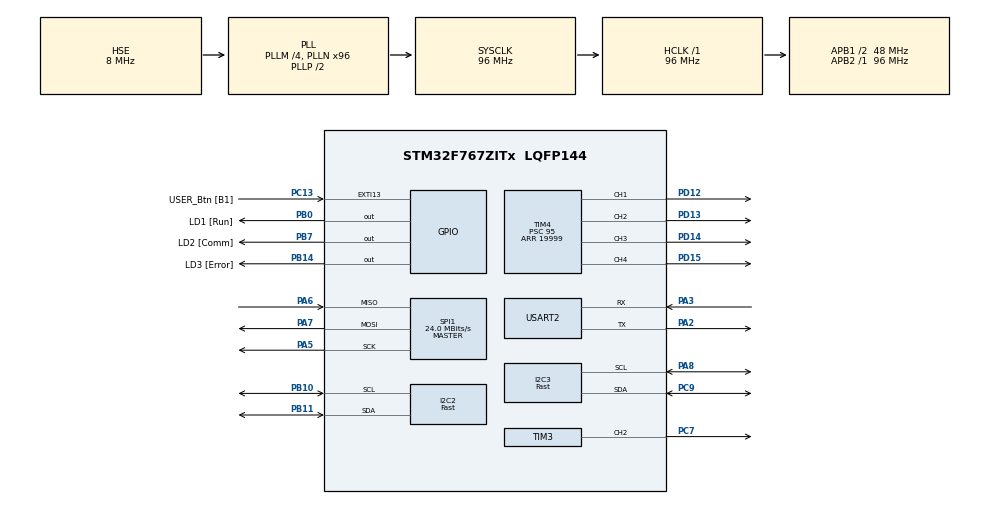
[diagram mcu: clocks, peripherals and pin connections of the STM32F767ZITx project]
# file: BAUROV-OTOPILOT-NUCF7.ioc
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Dma.Request0=USART2_RX
Dma.Request1=USART2_TX
Dma.USART2_RX.0.Direction=DMA_PERIPH_TO_MEMORY
Dma.USART2_RX.0.FIFOMode=DMA_FIFOMODE_DISABLE
Dma.USART2_RX.0.Instance=DMA1_Stream5
Dma.USART2_RX.0.MemDataAlignment=DMA_MDATAALIGN_BYTE
Dma.USART2_RX.0.MemInc=DMA_MINC_ENABLE
Dma.USART2_RX.0.Mode=DMA_NORMAL
Dma.USART2_RX.0.PeriphDataAlignment=DMA_PDATAALIGN_BYTE
Dma.USART2_RX.0.PeriphInc=DMA_PINC_DISABLE
Dma.USART2_RX.0.Priority=DMA_PRIORITY_VERY_HIGH
Dma.USART2_TX.1.Direction=DMA_MEMORY_TO_PERIPH
Dma.USART2_TX.1.FIFOMode=DMA_FIFOMODE_DISABLE
Dma.USART2_TX.1.Instance=DMA1_Stream6
Dma.USART2_TX.1.MemDataAlignment=DMA_MDATAALIGN_BYTE
Dma.USART2_TX.1.MemInc=DMA_MINC_ENABLE
Dma.USART2_TX.1.Mode=DMA_NORMAL
Dma.USART2_TX.1.PeriphDataAlignment=DMA_PDATAALIGN_BYTE
Dma.USART2_TX.1.PeriphInc=DMA_PINC_DISABLE
Dma.USART2_TX.1.Priority=DMA_PRIORITY_VERY_HIGH
FREERTOS.Mutexes01=Microros_DataMutex,Dynamic,NULL,Available;Microros_cmd_vel_Mutex,Dynamic,NULL,Available
FREERTOS.Tasks01=Thread_MicroROS,24,3000,TaskMicroROS,Default,NULL,Dynamic,NULL,NULL;Thread_Sensors,8,256,TaskSensors,Default,NULL,Dynamic,NULL,NULL;Thread_Thruster,8,256,TaskThruster,Default,NULL,Dynamic,NULL,NULL
I2C2.I2C_Speed_Mode=I2C_Fast
I2C2.Timing=0x2010091A
I2C3.I2C_Speed_Mode=I2C_Fast
I2C3.Timing=0x2010091A
Mcu.Family=STM32F7
Mcu.Name=STM32F767ZITx
Mcu.Package=LQFP144
NVIC.DMA1_Stream5_IRQn=true\:5\:0\:false\:false\:true\:true\:false\:true\:true
NVIC.DMA1_Stream6_IRQn=true\:5\:0\:false\:false\:true\:true\:false\:true\:true
NVIC.PriorityGroup=NVIC_PRIORITYGROUP_4
NVIC.SPI1_IRQn=true\:5\:0\:false\:false\:true\:true\:true\:true\:true
NVIC.TIM1_UP_TIM10_IRQn=true\:15\:0\:false\:false\:true\:false\:false\:true\:true
NVIC.TIM3_IRQn=true\:5\:0\:false\:false\:true\:true\:true\:true\:true
NVIC.TIM4_IRQn=true\:5\:0\:false\:false\:true\:true\:true\:true\:true
NVIC.TimeBase=TIM1_UP_TIM10_IRQn
NVIC.TimeBaseIP=TIM1
NVIC.USART2_IRQn=true\:5\:0\:false\:false\:true\:true\:true\:true\:true
PA13.GPIO_Label=TMS
PA13.Mode=Serial_Wire
PA13.Signal=SYS_JTMS-SWDIO
PA14.GPIO_Label=TCK
PA14.Mode=Serial_Wire
PA14.Signal=SYS_JTCK-SWCLK
PA2.Mode=Asynchronous
PA2.Signal=USART2_TX
PA3.Mode=Asynchronous
PA3.Signal=USART2_RX
PA5.Mode=Full_Duplex_Master
PA5.Signal=SPI1_SCK
PA6.Mode=Full_Duplex_Master
PA6.Signal=SPI1_MISO
PA7.Mode=Full_Duplex_Master
PA7.Signal=SPI1_MOSI
PA8.Mode=I2C
PA8.Signal=I2C3_SCL
PB0.GPIO_Label=LD1 [Run]
PB0.Signal=GPIO_Output
PB10.Mode=I2C
PB10.Signal=I2C2_SCL
PB11.Mode=I2C
PB11.Signal=I2C2_SDA
PB14.GPIO_Label=LD3 [Error]
PB14.Signal=GPIO_Output
PB7.GPIO_Label=LD2 [Comm]
PB7.Signal=GPIO_Output
PC13.GPIO_Label=USER_Btn [B1]
PC13.Signal=GPXTI13
PC14/OSC32_IN.Mode=LSE-External-Oscillator
PC14/OSC32_IN.Signal=RCC_OSC32_IN
PC15/OSC32_OUT.Mode=LSE-External-Oscillator
PC15/OSC32_OUT.Signal=RCC_OSC32_OUT
PC7.GPIO_Speed=GPIO_SPEED_FREQ_HIGH
PC7.Signal=S_TIM3_CH2
PC9.Mode=I2C
PC9.Signal=I2C3_SDA
PD12.Signal=S_TIM4_CH1
PD13.Signal=S_TIM4_CH2
PD14.Signal=S_TIM4_CH3
PD15.Signal=S_TIM4_CH4
PH0/OSC_IN.GPIO_Label=MCO [STM32F103CBT6_PA8]
PH0/OSC_IN.Mode=HSE-External-Oscillator
PH0/OSC_IN.Signal=RCC_OSC_IN
PH1/OSC_OUT.Mode=HSE-External-Oscillator
PH1/OSC_OUT.Signal=RCC_OSC_OUT
ProjectManager.HeapSize=0x200
ProjectManager.StackSize=0x400
ProjectManager.TargetToolchain=STM32CubeIDE
RCC.48MHZClocksFreq_Value=24000000
RCC.AHBFreq_Value=96000000
RCC.APB1CLKDivider=RCC_HCLK_DIV2
RCC.APB1Freq_Value=48000000
RCC.APB1TimFreq_Value=96000000
RCC.APB2Freq_Value=96000000
RCC.APB2TimFreq_Value=96000000
RCC.CortexFreq_Value=96000000
RCC.HCLKFreq_Value=96000000
RCC.HSE_VALUE=8000000
RCC.HSI_VALUE=16000000
RCC.PLLM=4
RCC.PLLMUL=RCC_PLL_MUL9
RCC.PLLN=96
RCC.PLLQ=4
RCC.PLLSourceVirtual=RCC_PLLSOURCE_HSE
RCC.PRESCALERUSB=RCC_USBCLKSOURCE_PLL_DIV1_5
RCC.SYSCLKFreq_VALUE=96000000
RCC.SYSCLKSource=RCC_SYSCLKSOURCE_PLLCLK
RCC.SYSCLKSourceVirtual=RCC_SYSCLKSOURCE_PLLCLK
RCC.USBFreq_Value=48000000
RCC.VCOOutputFreq_Value=192000000
SH.S_TIM3_CH2.0=TIM3_CH2,PWM Generation2 CH2
SH.S_TIM4_CH1.0=TIM4_CH1,PWM Generation1 CH1
SH.S_TIM4_CH2.0=TIM4_CH2,PWM Generation2 CH2
SH.S_TIM4_CH3.0=TIM4_CH3,PWM Generation3 CH3
SH.S_TIM4_CH4.0=TIM4_CH4,PWM Generation4 CH4
SPI1.BaudRatePrescaler=SPI_BAUDRATEPRESCALER_4
SPI1.CalculateBaudRate=24.0 MBits/s
SPI1.DataSize=SPI_DATASIZE_8BIT
SPI1.Direction=SPI_DIRECTION_2LINES
SPI1.Mode=SPI_MODE_MASTER
SPI1.VirtualType=VM_MASTER
TIM3.Channel-PWM\ Generation2\ CH2=TIM_CHANNEL_2
TIM3.Period=19999
TIM3.Prescaler=48
TIM4.Channel-PWM\ Generation1\ CH1=TIM_CHANNEL_1
TIM4.Channel-PWM\ Generation2\ CH2=TIM_CHANNEL_2
TIM4.Channel-PWM\ Generation3\ CH3=TIM_CHANNEL_3
TIM4.Channel-PWM\ Generation4\ CH4=TIM_CHANNEL_4
TIM4.Period=19999
TIM4.Prescaler=95
USART2.VirtualMode-Asynchronous=VM_ASYNC
VP_FREERTOS_VS_CMSIS_V2.Mode=CMSIS_V2
VP_SYS_VS_tim1.Mode=TIM1
VP_TIM3_VS_ClockSourceITR.Mode=TriggerSource_ITR0
VP_TIM3_VS_ControllerModeClock.Mode=Clock Mode
board=NUCLEO-F767ZI

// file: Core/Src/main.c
/* USER CODE BEGIN Header */
/**
  ******************************************************************************
  * @file           : main.c
  * @brief          : Main program body
  ******************************************************************************
  * @attention
  *
  * Copyright (c) 2025 STMicroelectronics.
  * All rights reserved.
  *
  * This software is licensed under terms that can be found in the LICENSE file
  * in the root directory of this software component.
  * If no LICENSE file comes with this software, it is provided AS-IS.
  *
  ******************************************************************************
  */
/* USER CODE END Header */
#include "main.h"
#include "cmsis_os.h"

/* USER CODE BEGIN Includes */
#include <rcl/rcl.h>
#include <rcl/error_handling.h>
#include <rclc/rclc.h>
#include <rclc/executor.h>
#include "rclc/sleep.h"  // Micro-ROS sleep header
//#include <rmw_uros/options.h>
#include <rcutils/allocator.h>
#include <uxr/client/transport.h>
#include <rmw_microxrcedds_c/config.h>
#include <rmw_microros/rmw_microros.h>
#include <rclc/subscription.h>
#include <std_msgs/msg/int32.h>
#include <std_msgs/msg/float32.h>
#include <rmw/types.h>
#include <rmw/qos_profiles.h>

#include <sensor_msgs/msg/imu.h>
#include <sensor_msgs/msg/fluid_pressure.h>
#include <sensor_msgs/msg/magnetic_field.h>

#include <geometry_msgs/msg/twist.h>

//#include <geometry_msgs/msg/vector3.h>
//#include <geometry_msgs/msg/quaternion.h>

#include "I2C.h"
#include "BNO055.h"
#include "IMU.h"
#include "RC522.h"
#include "PressureSensor.h"
#include "PWM.h"
/* USER CODE END Includes */

/* USER CODE BEGIN PD */
//extern USBD_HandleTypeDef hUsbDeviceFS;

rcl_publisher_t imu_publisher;
rcl_publisher_t pressure_publisher;
rcl_publisher_t magneto_publisher;
rcl_publisher_t heading_publisher;

rcl_subscription_t cmd_vel_subscriber;

rcl_ret_t spin_rs;

sensor_msgs__msg__Imu imu_msg;
sensor_msgs__msg__FluidPressure pressure_msg;
sensor_msgs__msg__MagneticField magneto_msg;
std_msgs__msg__Float32 heading_msg;

geometry_msgs__msg__Twist cmd_vel_msg;

//osMutexId_t microrosMsgMutexHandle;

/* USER CODE END PD */

I2C_HandleTypeDef hi2c2;
I2C_HandleTypeDef hi2c3;

SPI_HandleTypeDef hspi1;

TIM_HandleTypeDef htim3;
TIM_HandleTypeDef htim4;

UART_HandleTypeDef huart2;
DMA_HandleTypeDef hdma_usart2_rx;
DMA_HandleTypeDef hdma_usart2_tx;

/* Definitions for Thread_MicroROS */
osThreadId_t Thread_MicroROSHandle;
const osThreadAttr_t Thread_MicroROS_attributes = {
  .name = "Thread_MicroROS",
  .stack_size = 3000 * 4,
  .priority = (osPriority_t) osPriorityNormal,
};
/* Definitions for Thread_Sensors */
osThreadId_t Thread_SensorsHandle;
const osThreadAttr_t Thread_Sensors_attributes = {
  .name = "Thread_Sensors",
  .stack_size = 256 * 4,
  .priority = (osPriority_t) osPriorityLow,
};
/* Definitions for Thread_Thruster */
osThreadId_t Thread_ThrusterHandle;
const osThreadAttr_t Thread_Thruster_attributes = {
  .name = "Thread_Thruster",
  .stack_size = 256 * 4,
  .priority = (osPriority_t) osPriorityLow,
};
/* Definitions for Microros_DataMutex */
osMutexId_t Microros_DataMutexHandle;
const osMutexAttr_t Microros_DataMutex_attributes = {
  .name = "Microros_DataMutex"
};
/* Definitions for Microros_cmd_vel_Mutex */
osMutexId_t Microros_cmd_vel_MutexHandle;
const osMutexAttr_t Microros_cmd_vel_Mutex_attributes = {
  .name = "Microros_cmd_vel_Mutex"
};

void SystemClock_Config(void);
static void MX_GPIO_Init(void);
static void MX_DMA_Init(void);
static void MX_I2C2_Init(void);
static void MX_I2C3_Init(void);
static void MX_SPI1_Init(void);
static void MX_TIM3_Init(void);
static void MX_TIM4_Init(void);
static void MX_USART2_UART_Init(void);
void TaskMicroROS(void *argument);
void TaskSensors(void *argument);
void TaskThruster(void *argument);

/* USER CODE BEGIN 0 */

void rclc_sleep_ms(unsigned int milliseconds)
{
    osDelay(milliseconds);  // FreeRTOS delay
}

uint8_t status, str[16], sNum[5];
char* msg1 = "Reading from card\r\n";
char* msg2 = "Reading from tag\r\n";
uint16_t pwm_signal = 1500;
/* USER CODE END 0 */

int main(void)
{

  /* MCU Configuration--------------------------------------------------------*/

  /* Reset of all peripherals, Initializes the Flash interface and the Systick. */
  HAL_Init();

  /* Configure the system clock */
  SystemClock_Config();

  /* Initialize all configured peripherals */
  MX_GPIO_Init();
  MX_DMA_Init();
  MX_I2C2_Init();
  MX_I2C3_Init();
  MX_SPI1_Init();
  MX_TIM3_Init();
  MX_TIM4_Init();
  MX_USART2_UART_Init();

  /* Init scheduler */
  osKernelInitialize();
  /* Create the mutex(es) */
  /* creation of Microros_DataMutex */
  Microros_DataMutexHandle = osMutexNew(&Microros_DataMutex_attributes);

  /* creation of Microros_cmd_vel_Mutex */
  Microros_cmd_vel_MutexHandle = osMutexNew(&Microros_cmd_vel_Mutex_attributes);

  /* Create the thread(s) */
  /* creation of Thread_MicroROS */
  Thread_MicroROSHandle = osThreadNew(TaskMicroROS, NULL, &Thread_MicroROS_attributes);

  /* creation of Thread_Sensors */
  Thread_SensorsHandle = osThreadNew(TaskSensors, NULL, &Thread_Sensors_attributes);

  /* creation of Thread_Thruster */
  Thread_ThrusterHandle = osThreadNew(TaskThruster, NULL, &Thread_Thruster_attributes);

  /* Start scheduler */
  osKernelStart();

  /* We should never get here as control is now taken by the scheduler */

  /* Infinite loop */
  while (1)
  {

  }
}

void SystemClock_Config(void)
{
  RCC_OscInitTypeDef RCC_OscInitStruct = {0};
  RCC_ClkInitTypeDef RCC_ClkInitStruct = {0};

  /** Configure LSE Drive Capability
  */
  HAL_PWR_EnableBkUpAccess();

  /** Configure the main internal regulator output voltage
  */
  __HAL_RCC_PWR_CLK_ENABLE();
  __HAL_PWR_VOLTAGESCALING_CONFIG(PWR_REGULATOR_VOLTAGE_SCALE3);

  /** Initializes the RCC Oscillators according to the specified parameters
  * in the RCC_OscInitTypeDef structure.
  */
  RCC_OscInitStruct.OscillatorType = RCC_OSCILLATORTYPE_HSE;
  RCC_OscInitStruct.HSEState = RCC_HSE_ON;
  RCC_OscInitStruct.PLL.PLLState = RCC_PLL_ON;
  RCC_OscInitStruct.PLL.PLLSource = RCC_PLLSOURCE_HSE;
  RCC_OscInitStruct.PLL.PLLM = 4;
  RCC_OscInitStruct.PLL.PLLN = 96;
  RCC_OscInitStruct.PLL.PLLP = RCC_PLLP_DIV2;
  RCC_OscInitStruct.PLL.PLLQ = 4;
  RCC_OscInitStruct.PLL.PLLR = 2;
  if (HAL_RCC_OscConfig(&RCC_OscInitStruct) != HAL_OK)
  {
    Error_Handler();
  }

  /** Activate the Over-Drive mode
  */
  if (HAL_PWREx_EnableOverDrive() != HAL_OK)
  {
    Error_Handler();
  }

  /** Initializes the CPU, AHB and APB buses clocks
  */
  RCC_ClkInitStruct.ClockType = RCC_CLOCKTYPE_HCLK|RCC_CLOCKTYPE_SYSCLK
                              |RCC_CLOCKTYPE_PCLK1|RCC_CLOCKTYPE_PCLK2;
  RCC_ClkInitStruct.SYSCLKSource = RCC_SYSCLKSOURCE_PLLCLK;
  RCC_ClkInitStruct.AHBCLKDivider = RCC_SYSCLK_DIV1;
  RCC_ClkInitStruct.APB1CLKDivider = RCC_HCLK_DIV2;
  RCC_ClkInitStruct.APB2CLKDivider = RCC_HCLK_DIV1;

  if (HAL_RCC_ClockConfig(&RCC_ClkInitStruct, FLASH_LATENCY_3) != HAL_OK)
  {
    Error_Handler();
  }
}

static void MX_I2C2_Init(void)
{

  hi2c2.Instance = I2C2;
  hi2c2.Init.Timing = 0x2010091A;
  hi2c2.Init.OwnAddress1 = 0;
  hi2c2.Init.AddressingMode = I2C_ADDRESSINGMODE_7BIT;
  hi2c2.Init.DualAddressMode = I2C_DUALADDRESS_DISABLE;
  hi2c2.Init.OwnAddress2 = 0;
  hi2c2.Init.OwnAddress2Masks = I2C_OA2_NOMASK;
  hi2c2.Init.GeneralCallMode = I2C_GENERALCALL_DISABLE;
  hi2c2.Init.NoStretchMode = I2C_NOSTRETCH_DISABLE;
  if (HAL_I2C_Init(&hi2c2) != HAL_OK)
  {
    Error_Handler();
  }

  /** Configure Analogue filter
  */
  if (HAL_I2CEx_ConfigAnalogFilter(&hi2c2, I2C_ANALOGFILTER_ENABLE) != HAL_OK)
  {
    Error_Handler();
  }

  /** Configure Digital filter
  */
  if (HAL_I2CEx_ConfigDigitalFilter(&hi2c2, 0) != HAL_OK)
  {
    Error_Handler();
  }
  /* USER CODE BEGIN I2C2_Init 2 */
  I2C_Init(&hi2c2, I2CNO_2);
  /* USER CODE END I2C2_Init 2 */

}

static void MX_I2C3_Init(void)
{

  hi2c3.Instance = I2C3;
  hi2c3.Init.Timing = 0x2010091A;
  hi2c3.Init.OwnAddress1 = 0;
  hi2c3.Init.AddressingMode = I2C_ADDRESSINGMODE_7BIT;
  hi2c3.Init.DualAddressMode = I2C_DUALADDRESS_DISABLE;
  hi2c3.Init.OwnAddress2 = 0;
  hi2c3.Init.OwnAddress2Masks = I2C_OA2_NOMASK;
  hi2c3.Init.GeneralCallMode = I2C_GENERALCALL_DISABLE;
  hi2c3.Init.NoStretchMode = I2C_NOSTRETCH_DISABLE;
  if (HAL_I2C_Init(&hi2c3) != HAL_OK)
  {
    Error_Handler();
  }

  /** Configure Analogue filter
  */
  if (HAL_I2CEx_ConfigAnalogFilter(&hi2c3, I2C_ANALOGFILTER_ENABLE) != HAL_OK)
  {
    Error_Handler();
  }

  /** Configure Digital filter
  */
  if (HAL_I2CEx_ConfigDigitalFilter(&hi2c3, 0) != HAL_OK)
  {
    Error_Handler();
  }
  /* USER CODE BEGIN I2C3_Init 2 */
  I2C_Init(&hi2c3, I2CNO_3);
  /* USER CODE END I2C3_Init 2 */

}

static void MX_SPI1_Init(void)
{

  /* SPI1 parameter configuration*/
  hspi1.Instance = SPI1;
  hspi1.Init.Mode = SPI_MODE_MASTER;
  hspi1.Init.Direction = SPI_DIRECTION_2LINES;
  hspi1.Init.DataSize = SPI_DATASIZE_8BIT;
  hspi1.Init.CLKPolarity = SPI_POLARITY_LOW;
  hspi1.Init.CLKPhase = SPI_PHASE_1EDGE;
  hspi1.Init.NSS = SPI_NSS_SOFT;
  hspi1.Init.BaudRatePrescaler = SPI_BAUDRATEPRESCALER_4;
  hspi1.Init.FirstBit = SPI_FIRSTBIT_MSB;
  hspi1.Init.TIMode = SPI_TIMODE_DISABLE;
  hspi1.Init.CRCCalculation = SPI_CRCCALCULATION_DISABLE;
  hspi1.Init.CRCPolynomial = 7;
  hspi1.Init.CRCLength = SPI_CRC_LENGTH_DATASIZE;
  hspi1.Init.NSSPMode = SPI_NSS_PULSE_ENABLE;
  if (HAL_SPI_Init(&hspi1) != HAL_OK)
  {
    Error_Handler();
  }

}

static void MX_TIM3_Init(void)
{

  TIM_SlaveConfigTypeDef sSlaveConfig = {0};
  TIM_MasterConfigTypeDef sMasterConfig = {0};
  TIM_OC_InitTypeDef sConfigOC = {0};

  htim3.Instance = TIM3;
  htim3.Init.Prescaler = 48;
  htim3.Init.CounterMode = TIM_COUNTERMODE_UP;
  htim3.Init.Period = 19999;
  htim3.Init.ClockDivision = TIM_CLOCKDIVISION_DIV1;
  htim3.Init.AutoReloadPreload = TIM_AUTORELOAD_PRELOAD_DISABLE;
  if (HAL_TIM_Base_Init(&htim3) != HAL_OK)
  {
    Error_Handler();
  }
  if (HAL_TIM_PWM_Init(&htim3) != HAL_OK)
  {
    Error_Handler();
  }
  sSlaveConfig.SlaveMode = TIM_SLAVEMODE_EXTERNAL1;
  sSlaveConfig.InputTrigger = TIM_TS_ITR0;
  if (HAL_TIM_SlaveConfigSynchro(&htim3, &sSlaveConfig) != HAL_OK)
  {
    Error_Handler();
  }
  sMasterConfig.MasterOutputTrigger = TIM_TRGO_RESET;
  sMasterConfig.MasterSlaveMode = TIM_MASTERSLAVEMODE_DISABLE;
  if (HAL_TIMEx_MasterConfigSynchronization(&htim3, &sMasterConfig) != HAL_OK)
  {
    Error_Handler();
  }
  sConfigOC.OCMode = TIM_OCMODE_PWM1;
  sConfigOC.Pulse = 0;
  sConfigOC.OCPolarity = TIM_OCPOLARITY_HIGH;
  sConfigOC.OCFastMode = TIM_OCFAST_DISABLE;
  if (HAL_TIM_PWM_ConfigChannel(&htim3, &sConfigOC, TIM_CHANNEL_2) != HAL_OK)
  {
    Error_Handler();
  }
  HAL_TIM_MspPostInit(&htim3);

}

static void MX_TIM4_Init(void)
{

  TIM_MasterConfigTypeDef sMasterConfig = {0};
  TIM_OC_InitTypeDef sConfigOC = {0};

  htim4.Instance = TIM4;
  htim4.Init.Prescaler = 95;
  htim4.Init.CounterMode = TIM_COUNTERMODE_UP;
  htim4.Init.Period = 19999;
  htim4.Init.ClockDivision = TIM_CLOCKDIVISION_DIV1;
  htim4.Init.AutoReloadPreload = TIM_AUTORELOAD_PRELOAD_DISABLE;
  if (HAL_TIM_PWM_Init(&htim4) != HAL_OK)
  {
    Error_Handler();
  }
  sMasterConfig.MasterOutputTrigger = TIM_TRGO_RESET;
  sMasterConfig.MasterSlaveMode = TIM_MASTERSLAVEMODE_DISABLE;
  if (HAL_TIMEx_MasterConfigSynchronization(&htim4, &sMasterConfig) != HAL_OK)
  {
    Error_Handler();
  }
  sConfigOC.OCMode = TIM_OCMODE_PWM1;
  sConfigOC.Pulse = 0;
  sConfigOC.OCPolarity = TIM_OCPOLARITY_HIGH;
  sConfigOC.OCFastMode = TIM_OCFAST_DISABLE;
  if (HAL_TIM_PWM_ConfigChannel(&htim4, &sConfigOC, TIM_CHANNEL_1) != HAL_OK)
  {
    Error_Handler();
  }
  if (HAL_TIM_PWM_ConfigChannel(&htim4, &sConfigOC, TIM_CHANNEL_2) != HAL_OK)
  {
    Error_Handler();
  }
  if (HAL_TIM_PWM_ConfigChannel(&htim4, &sConfigOC, TIM_CHANNEL_3) != HAL_OK)
  {
    Error_Handler();
  }
  if (HAL_TIM_PWM_ConfigChannel(&htim4, &sConfigOC, TIM_CHANNEL_4) != HAL_OK)
  {
    Error_Handler();
  }
  /* USER CODE BEGIN TIM4_Init 2 */
  HAL_TIM_PWM_Start(&htim4, TIM_CHANNEL_1);

  /* USER CODE END TIM4_Init 2 */
  HAL_TIM_MspPostInit(&htim4);

}

static void MX_USART2_UART_Init(void)
{

  huart2.Instance = USART2;
  huart2.Init.BaudRate = 115200;
  huart2.Init.WordLength = UART_WORDLENGTH_8B;
  huart2.Init.StopBits = UART_STOPBITS_1;
  huart2.Init.Parity = UART_PARITY_NONE;
  huart2.Init.Mode = UART_MODE_TX_RX;
  huart2.Init.HwFlowCtl = UART_HWCONTROL_NONE;
  huart2.Init.OverSampling = UART_OVERSAMPLING_16;
  huart2.Init.OneBitSampling = UART_ONE_BIT_SAMPLE_DISABLE;
  huart2.AdvancedInit.AdvFeatureInit = UART_ADVFEATURE_NO_INIT;
  if (HAL_UART_Init(&huart2) != HAL_OK)
  {
    Error_Handler();
  }

}

static void MX_DMA_Init(void)
{

  /* DMA controller clock enable */
  __HAL_RCC_DMA1_CLK_ENABLE();

  /* DMA interrupt init */
  /* DMA1_Stream5_IRQn interrupt configuration */
  HAL_NVIC_SetPriority(DMA1_Stream5_IRQn, 5, 0);
  HAL_NVIC_EnableIRQ(DMA1_Stream5_IRQn);
  /* DMA1_Stream6_IRQn interrupt configuration */
  HAL_NVIC_SetPriority(DMA1_Stream6_IRQn, 5, 0);
  HAL_NVIC_EnableIRQ(DMA1_Stream6_IRQn);

}

static void MX_GPIO_Init(void)
{
  GPIO_InitTypeDef GPIO_InitStruct = {0};

  /* GPIO Ports Clock Enable */
  __HAL_RCC_GPIOC_CLK_ENABLE();
  __HAL_RCC_GPIOH_CLK_ENABLE();
  __HAL_RCC_GPIOA_CLK_ENABLE();
  __HAL_RCC_GPIOB_CLK_ENABLE();
  __HAL_RCC_GPIOD_CLK_ENABLE();

  /*Configure GPIO pin Output Level */
  HAL_GPIO_WritePin(GPIOB, LD1_Pin|LD3_Pin|LD2_Pin, GPIO_PIN_RESET);

  /*Configure GPIO pin : USER_Btn_Pin */
  GPIO_InitStruct.Pin = USER_Btn_Pin;
  GPIO_InitStruct.Mode = GPIO_MODE_IT_RISING;
  GPIO_InitStruct.Pull = GPIO_NOPULL;
  HAL_GPIO_Init(USER_Btn_GPIO_Port, &GPIO_InitStruct);

  /*Configure GPIO pins : LD1_Pin LD3_Pin LD2_Pin */
  GPIO_InitStruct.Pin = LD1_Pin|LD3_Pin|LD2_Pin;
  GPIO_InitStruct.Mode = GPIO_MODE_OUTPUT_PP;
  GPIO_InitStruct.Pull = GPIO_NOPULL;
  GPIO_InitStruct.Speed = GPIO_SPEED_FREQ_LOW;
  HAL_GPIO_Init(GPIOB, &GPIO_InitStruct);

}

/* USER CODE BEGIN 4 */
bool cubemx_transport_open(struct uxrCustomTransport * transport);
bool cubemx_transport_close(struct uxrCustomTransport * transport);
size_t cubemx_transport_write(struct uxrCustomTransport* transport, const uint8_t * buf, size_t len, uint8_t * err);
size_t cubemx_transport_read(struct uxrCustomTransport* transport, uint8_t* buf, size_t len, int timeout, uint8_t* err);

void * microros_allocate(size_t size, void * state);
void microros_deallocate(void * pointer, void * state);
void * microros_reallocate(void * pointer, size_t size, void * state);
void * microros_zero_allocate(size_t number_of_elements, size_t size_of_element, void * state);

void HAL_Delay(uint32_t Delay)
{
  osDelay(Delay);
}

uint16_t map_thrust_to_pwm(float thrust)
{
    if (thrust > 1.0f) thrust = 1.0f;
    if (thrust < -1.0f) thrust = -1.0f;

    uint16_t pwm_neutral = 1500;
    uint16_t pwm_max = 1900;
    uint16_t pwm_min = 1100;

    if (thrust >= 0.0f)
    {
        // Pozitif thrust: nötr → max
        return (uint16_t)(pwm_neutral + thrust * (pwm_max - pwm_neutral));
    }
    else
    {
        // Negatif thrust: nötr → min
        return (uint16_t)(pwm_neutral + thrust * (pwm_neutral - pwm_min));
    }
}

void cmd_vel_callback(const void * msgin)
{
    const geometry_msgs__msg__Twist * msg = (const geometry_msgs__msg__Twist *)msgin;

    float linear_x  = msg->linear.x;   // ileri/geri
    float linear_y  = msg->linear.y;   // sağ/sol
    float angular_z = msg->angular.z;  // yaw dönmesi

    // Basit thrust dağılımı (ROV’un pervane yönlerine göre katsayıyla ayarlanmalı)
    float thrust_SA =  linear_x - linear_y - angular_z;  // Sağ Ön
    float thrust_SB =  linear_x + linear_y - angular_z;  // Sağ Arka
    float thrust_PA =  linear_x + linear_y + angular_z;  // Sol Ön
    float thrust_PB =  linear_x - linear_y + angular_z;  // Sol Arka

    // Thrust → PWM dönüşümü (örnek, motor karakteristiğine göre ayarlanmalı)
    THRUSTER_Vert_R.PWM_Raw = thrust_SA;
    THRUSTER_Vert_L.PWM_Raw = thrust_SB;
    THRUSTER_Horz_R.PWM_Raw = thrust_PA;
    THRUSTER_Horz_L.PWM_Raw = thrust_PB;

    THRUSTER_Vert_R.dataNumb++;

}

/* USER CODE END 4 */

void TaskMicroROS(void *argument)
{
  /* USER CODE BEGIN 5 */

	static char frame_id_imu[] = "imu_link";
	static char frame_id_pressure[] = "pressure_link";
	static char frame_id_magneto[] = "magneto_link";
	static char frame_id_heading[] = "heading_link";

	rcl_allocator_t allocator;
	rclc_support_t support;
    rcl_node_t node;
    rclc_executor_t cmd_vel_executor;

	rmw_uros_set_custom_transport(true, (void *) &huart2, cubemx_transport_open, cubemx_transport_close, cubemx_transport_write, cubemx_transport_read);

	allocator = rcutils_get_zero_initialized_allocator();

	allocator.allocate = microros_allocate;
	allocator.deallocate = microros_deallocate;
	allocator.reallocate = microros_reallocate;
	allocator.zero_allocate = microros_zero_allocate;

	rcutils_set_default_allocator(&allocator);

	rclc_support_init(&support, 0, NULL, &allocator);

	rclc_node_init_default(&node, "my_node", "", &support);

	//microros sub and pub inits

	rclc_subscription_init_best_effort(&cmd_vel_subscriber, &node, ROSIDL_GET_MSG_TYPE_SUPPORT(geometry_msgs, msg, Twist), "cmd_vel");

	rclc_publisher_init_best_effort(&imu_publisher, &node, ROSIDL_GET_MSG_TYPE_SUPPORT(sensor_msgs, msg, Imu), "imu_data");

	rclc_publisher_init_best_effort(&pressure_publisher, &node, ROSIDL_GET_MSG_TYPE_SUPPORT(sensor_msgs, msg, FluidPressure), "pressure_data");

	rclc_publisher_init_best_effort(&magneto_publisher, &node, ROSIDL_GET_MSG_TYPE_SUPPORT(sensor_msgs, msg, MagneticField), "magneto_data");

	rclc_publisher_init_best_effort(&heading_publisher, &node, ROSIDL_GET_MSG_TYPE_SUPPORT(std_msgs, msg, Float32), "compass_heading");

	//microros executor inits
	rclc_executor_init(&cmd_vel_executor, &support.context, 1, &allocator);

	rclc_executor_add_subscription(&cmd_vel_executor, &cmd_vel_subscriber, &cmd_vel_msg, &cmd_vel_callback, ALWAYS);

	memset(&imu_msg, 0, sizeof(imu_msg));
	memset(&pressure_msg, 0, sizeof(pressure_msg));
	memset(&magneto_msg, 0, sizeof(magneto_msg));
    memset(&heading_msg, 0, sizeof(heading_msg));

	for(;;){

		imu_msg.header.stamp.sec = rmw_uros_epoch_millis() / 1000;
		imu_msg.header.stamp.nanosec = (rmw_uros_epoch_millis() % 1000) * 1000000;
		imu_msg.header.frame_id.data = frame_id_imu;
		imu_msg.header.frame_id.size = strlen(frame_id_imu);
		imu_msg.header.frame_id.capacity = imu_msg.header.frame_id.size + 1;

		pressure_msg.header.stamp.sec = rmw_uros_epoch_millis() / 1000;
		pressure_msg.header.stamp.nanosec = (rmw_uros_epoch_millis() % 1000) * 1000000;
		pressure_msg.header.frame_id.data = frame_id_pressure;
		pressure_msg.header.frame_id.size = strlen(frame_id_pressure);
		pressure_msg.header.frame_id.capacity = pressure_msg.header.frame_id.size + 1;

		magneto_msg.header.stamp.sec = rmw_uros_epoch_millis() / 1000;
		magneto_msg.header.stamp.nanosec = (rmw_uros_epoch_millis() % 1000) * 1000000;
		magneto_msg.header.frame_id.data = frame_id_magneto;
		magneto_msg.header.frame_id.size = strlen(frame_id_magneto);
		magneto_msg.header.frame_id.capacity = magneto_msg.header.frame_id.size + 1;

		//publish data with mutex

		//if(osMutexAcquire(Microros_cmd_vel_MutexHandle, 10) == osOK){

		    spin_rs = rclc_executor_spin_some(&cmd_vel_executor, RCL_MS_TO_NS(20));

		//	osMutexRelease(Microros_cmd_vel_MutexHandle);
		//}

/*		if(osMutexAcquire(Microros_DataMutexHandle, 10) == osOK){

			rcl_publish(&imu_publisher, &imu_msg, NULL);

			rcl_publish(&pressure_publisher, &pressure_msg, NULL);

			rcl_publish(&magneto_publisher, &magneto_msg, NULL);

			rcl_publish(&heading_publisher, &heading_msg, NULL);

			osMutexRelease(Microros_DataMutexHandle);
		}*/

		osDelay(20);
	}
  /* USER CODE END 5 */
}

void TaskSensors(void *argument)
{
  /* USER CODE BEGIN TaskSensors */

	IMU_Init(&IMU_1, 1, I2CNO_2, BNO055_I2C_ADRESS, 0, 0);
	PressureSensor_Init(&PressureSensor_1, 1, I2CNO_3, 0x40);
	osDelay(100);

  /* Infinite loop */
  for(;;)
  {

	IMU_Execute(&IMU_1, 1);
//	PressureSensor_Execute(&PressureSensor_1, 1);

	if(osMutexAcquire(Microros_DataMutexHandle, 10) == osOK){

	imu_msg.linear_acceleration.x = IMU_1.CalculatedData.LinAcc.X_Axis;
	imu_msg.linear_acceleration.y = IMU_1.CalculatedData.LinAcc.Y_Axis;
	imu_msg.linear_acceleration.z = IMU_1.CalculatedData.LinAcc.Z_Axis;

	imu_msg.angular_velocity.x = IMU_1.CalculatedData.Gyroscope.X_Axis;
	imu_msg.angular_velocity.y = IMU_1.CalculatedData.Gyroscope.Y_Axis;
	imu_msg.angular_velocity.z = IMU_1.CalculatedData.Gyroscope.Z_Axis;

	imu_msg.orientation.w = IMU_1.CalculatedData.Qua.W_Axis;
	imu_msg.orientation.x = IMU_1.CalculatedData.Qua.X_Axis;
	imu_msg.orientation.y = IMU_1.CalculatedData.Qua.Y_Axis;
	imu_msg.orientation.z = IMU_1.CalculatedData.Qua.Z_Axis;

	magneto_msg.magnetic_field.x = IMU_1.CalculatedData.Magnetometer.X_Axis;
	magneto_msg.magnetic_field.y = IMU_1.CalculatedData.Magnetometer.Y_Axis;
	magneto_msg.magnetic_field.z = IMU_1.CalculatedData.Magnetometer.Z_Axis;

	pressure_msg.fluid_pressure = PressureSensor_1.FilteredPressureDataPascal;

	heading_msg.data = IMU_1.CalculatedData.Heading;

	osMutexRelease(Microros_DataMutexHandle);
	}

	osDelay(10);
  }
  /* USER CODE END TaskSensors */
}

void TaskThruster(void *argument)
{
  /* USER CODE BEGIN TaskThruster */
	PWM_Init(&THRUSTER_Vert_R, &htim4, TIM_CHANNEL_1, 1100, 1900, 1500);
	PWM_Init(&THRUSTER_Vert_L, &htim4, TIM_CHANNEL_2, 1100, 1900, 1500);
	PWM_Init(&THRUSTER_Horz_R, &htim4, TIM_CHANNEL_3, 1100, 1900, 1500);
	PWM_Init(&THRUSTER_Horz_L, &htim4, TIM_CHANNEL_4, 1100, 1900, 1500);
	osDelay(100);
  /* Infinite loop */
  for(;;)
  {

	//  if(osMutexAcquire(Microros_cmd_vel_MutexHandle, 10) == osOK){

		//  PWM_SetPulse(&THRUSTER_Vert_R);
		 // PWM_SetPulse(&THRUSTER_Vert_L);
		 // PWM_SetPulse(&THRUSTER_Horz_R);
		 // PWM_SetPulse(&THRUSTER_Horz_L);

	//	  osMutexRelease(Microros_cmd_vel_MutexHandle);
	//  }

    osDelay(10);
  }
  /* USER CODE END TaskThruster */
}

void HAL_TIM_PeriodElapsedCallback(TIM_HandleTypeDef *htim)
{
  if (htim->Instance == TIM1)
  {
    HAL_IncTick();
  }
}

void Error_Handler(void)
{
  __disable_irq();
  while (1)
  {
  }
}
